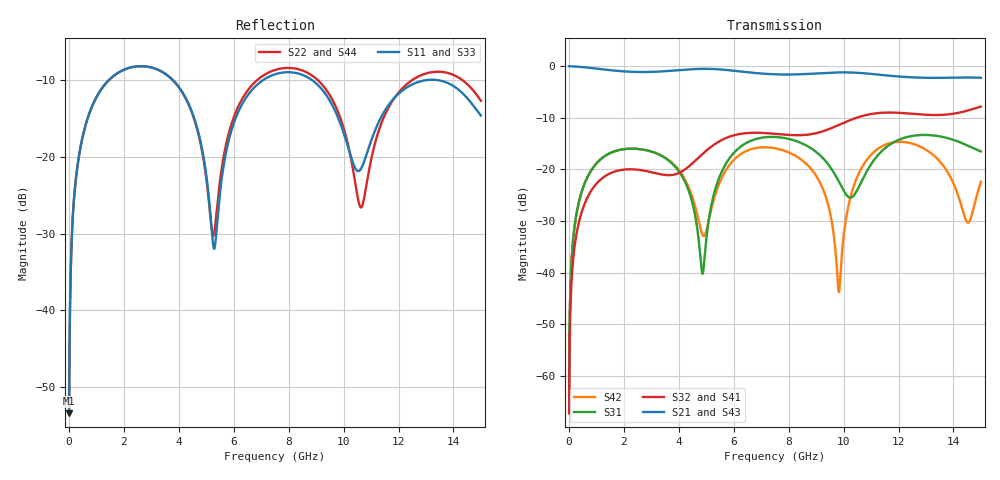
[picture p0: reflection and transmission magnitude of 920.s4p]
! Created with skrf 1.8.0 (http://scikit-rf.org).
# GHz S RI R 50.0
!freq ReS11 ImS11 ReS12 ImS12 ReS13 ImS13
! ReS14 ImS14
! ReS21 ImS21 ReS22 ImS22 ReS23 ImS23
! ReS24 ImS24
! ReS31 ImS31 ReS32 ImS32 ReS33 ImS33
! ReS34 ImS34
! ReS41 ImS41 ReS42 ImS42 ReS43 ImS43
! ReS44 ImS44
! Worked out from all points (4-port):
!   2499 points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, 5 MHz to 15 GHz, reference 50 ohm
!   strongest paths, dB at 5 MHz, 3.476 GHz, 7.19 GHz, 11.1 GHz, 15 GHz:
!     S21: 0.0, -1.0, -1.5, -1.6, -2.3
!     S43: 0.0, -1.0, -1.5, -1.6, -2.3
!     S32: -67.2, -21.1, -13.0, -9.2, -7.8
!     S41: -67.2, -21.1, -13.0, -9.2, -7.8
!     S31: -63.2, -17.7, -13.8, -18.3, -16.5
!     S42: -63.2, -17.6, -15.7, -16.7, -22.4
!   lowest |S11| = -53.4 dB at 5 MHz (marker M1), VSWR 1.00, Z = 50.2 + j0.13 ohm
!   |S11| at or under -10 dB: 3.798 GHz to 7.05 GHz (3.251 GHz wide, 59.9 % of centre); 8.87 GHz to 12.93 GHz (4.057 GHz wide, 37.2 % of centre); 13.5 GHz to end of sweep (the widest 3 of 4)
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0.005  0.0017 0.00129  0.9983 -0.00331  8.59e-05 0.000684  -8.34e-05 -0.000427
       0.9983 -0.00331  0.0017 0.00129  -8.34e-05 -0.000427  8.59e-05 0.000684
       8.59e-05 0.000684  -8.34e-05 -0.000427  0.0017 0.00129  0.9983 -0.00331
       -8.34e-05 -0.000427  8.59e-05 0.000684  0.9983 -0.00331  0.0017 0.00129
1.569404  0.2845 0.1717  0.5167 -0.7477  0.1349 0.0576  -0.0931 -0.000725
          0.5167 -0.7477  0.2846 0.1716  -0.0933 -0.000562  0.1346 0.058
          0.1349 0.0576  -0.0933 -0.000562  0.2845 0.1718  0.5166 -0.7477
          -0.0931 -0.000725  0.1346 0.058  0.5166 -0.7477  0.2847 0.1716
4.858274  0.0497 -0.0985  -0.8889 -0.3078  0.00975 -0.000518  -0.0426 0.1341
          -0.8889 -0.3078  0.0523 -0.0927  -0.0403 0.1348  -0.0211 -0.0102
          0.00975 -0.000518  -0.0403 0.1348  0.051 -0.0988  -0.8888 -0.3077
          -0.0426 0.1341  -0.0211 -0.0102  -0.8888 -0.3077  0.0515 -0.0937
8.153397  0.3563 -0.0144  -0.0117 0.8296  0.1416 -0.1304  0.2057 -0.057
          -0.0117 0.8296  0.3774 -0.0459  0.2055 -0.0622  0.1341 -0.0394
          0.1416 -0.1304  0.2055 -0.0622  0.3567 -0.0153  -0.011 0.8291
          0.2057 -0.057  0.1341 -0.0394  -0.011 0.8291  0.3795 -0.0452
9.829095  0.1356 -0.1115  0.7052 0.5073  -0.0522 -0.0556  0.1542 -0.2208
          0.7052 0.5073  0.1169 -0.151  0.1475 -0.2256  -0.00608 -0.0022
          -0.0522 -0.0556  0.1475 -0.2256  0.1373 -0.1145  0.7048 0.5067
          0.1542 -0.2208  -0.00608 -0.0022  0.7048 0.5067  0.1194 -0.1533
11.26719  0.1349 0.0992  0.7992 -0.2121  0.0939 0.1022  -0.1154 -0.3308
          0.7992 -0.2121  0.1023 0.1046  -0.1256 -0.3279  0.1003 0.1238
          0.0939 0.1022  -0.1256 -0.3279  0.1326 0.0935  0.7996 -0.2129
          -0.1154 -0.3308  0.1003 0.1238  0.7996 -0.2129  0.1026 0.102
15  0.1805 -0.0479  -0.5535 -0.5358  -0.1347 -0.0644  -0.2932 0.2807
    -0.5535 -0.5358  0.1914 -0.1331  -0.2813 0.2922  -0.0545 0.0529
    -0.1347 -0.0644  -0.2813 0.2922  0.1777 -0.0498  -0.5571 -0.5326
    -0.2932 0.2807  -0.0545 0.0529  -0.5571 -0.5326  0.1919 -0.1285
